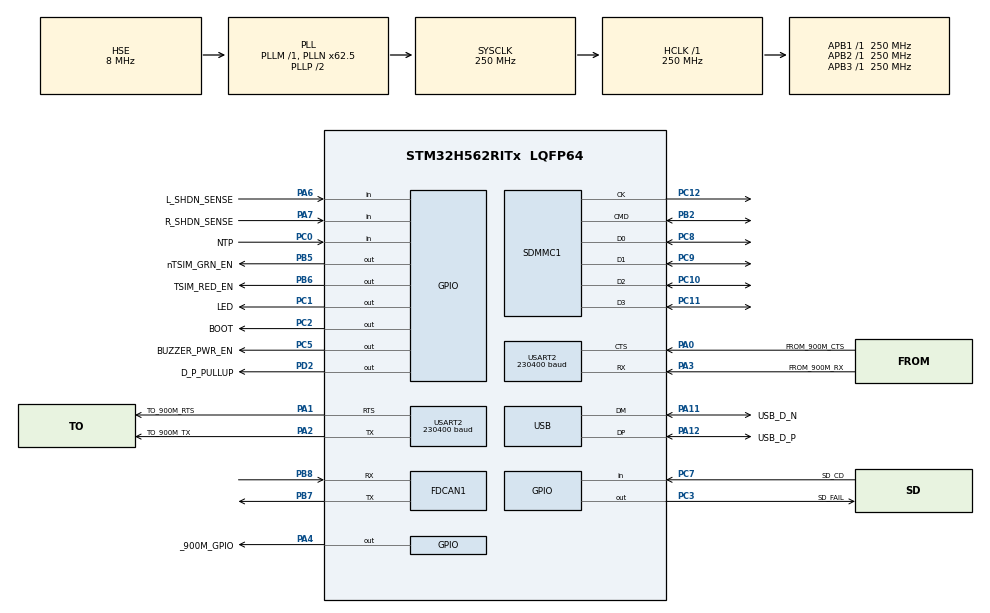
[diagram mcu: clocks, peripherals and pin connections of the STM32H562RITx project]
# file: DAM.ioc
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BOOTPATH.BootPathName=LEGACY
BOOTPATH.UserSelectedBootPath=LEGACY
CORTEX_M33_NS.userName=CORTEX_M33
FDCAN1.AutoRetransmission=ENABLE
FDCAN1.CalculateBaudRateNominal=1000000
FDCAN1.CalculateTimeBitNominal=1000
FDCAN1.CalculateTimeQuantumNominal=62.5
FDCAN1.DataPrescaler=3
FDCAN1.DataSyncJumpWidth=2
FDCAN1.DataTimeSeg1=5
FDCAN1.DataTimeSeg2=2
FDCAN1.ExtFiltersNbr=1
FDCAN1.FrameFormat=FDCAN_FRAME_FD_NO_BRS
FDCAN1.NominalPrescaler=6
FDCAN1.NominalSyncJumpWidth=2
FDCAN1.NominalTimeSeg1=13
FDCAN1.NominalTimeSeg2=2
FDCAN1.StdFiltersNbr=1
GPDMA1.DIRECTION_GPDMACH0=DMA_MEMORY_TO_PERIPH
GPDMA1.IPHANDLE_GPDMACH0-SIMPLEREQUEST_GPDMACH0=__NULL
GPDMA1.REQUEST_GPDMACH0=GPDMA1_REQUEST_USART2_TX
GPDMA1.SRCINC_GPDMACH0=DMA_SINC_INCREMENTED
IWDG.Reload=LSI_FREQUENCY / IWDG_PRESCALER / IWDG_RESET_FREQUENCY
Mcu.Family=STM32H5
Mcu.Name=STM32H562RITx
Mcu.Package=LQFP64
Mcu.UserConstants=IWDG_RESET_FREQUENCY,5;IWDG_PRESCALER,4;LSI_FREQUENCY,32000
NVIC.FDCAN1_IT0_IRQn=true\:6\:0\:true\:false\:true\:true\:true\:true
NVIC.FDCAN1_IT1_IRQn=true\:6\:0\:true\:false\:true\:true\:true\:true
NVIC.GPDMA1_Channel0_IRQn=true\:5\:0\:true\:false\:true\:true\:true\:true
NVIC.PriorityGroup=NVIC_PRIORITYGROUP_4
NVIC.SDMMC1_IRQn=true\:5\:0\:true\:false\:true\:true\:true\:true
NVIC.TIM2_IRQn=true\:0\:0\:true\:false\:true\:false\:true\:true
NVIC.TIM7_IRQn=true\:5\:0\:true\:false\:true\:true\:true\:true
NVIC.TimeBase=TIM2_IRQn
NVIC.TimeBaseIP=TIM2
NVIC.USART2_IRQn=true\:5\:0\:true\:false\:true\:true\:true\:true
NVIC.USB_DRD_FS_IRQn=true\:5\:0\:true\:false\:true\:true\:true\:true
PA0.GPIO_Label=FROM_900M_CTS
PA0.Mode=CTS_RTS
PA0.Signal=USART2_CTS
PA1.GPIO_Label=TO_900M_RTS
PA1.Mode=CTS_RTS
PA1.Signal=USART2_RTS
PA11.GPIO_Label=USB_D_N
PA11.Mode=Device
PA11.Signal=USB_DM
PA12.GPIO_Label=USB_D_P
PA12.Mode=Device
PA12.Signal=USB_DP
PA13(JTMS/SWDIO).GPIO_Label=SWDIO
PA13(JTMS/SWDIO).Mode=Trace_Asynchronous_SW
PA13(JTMS/SWDIO).Signal=DEBUG_JTMS-SWDIO
PA14(JTCK/SWCLK).GPIO_Label=SWCLK
PA14(JTCK/SWCLK).Mode=Trace_Asynchronous_SW
PA14(JTCK/SWCLK).Signal=DEBUG_JTCK-SWCLK
PA2.GPIO_Label=TO_900M_TX
PA2.Mode=Asynchronous
PA2.Signal=USART2_TX
PA3.GPIO_Label=FROM_900M_RX
PA3.Mode=Asynchronous
PA3.Signal=USART2_RX
PA4.GPIO_Label=_900M_GPIO
PA4.Signal=GPIO_Output
PA6.GPIO_Label=L_SHDN_SENSE
PA6.Signal=GPIO_Input
PA7.GPIO_Label=R_SHDN_SENSE
PA7.Signal=GPIO_Input
PB2.GPIO_Speed_Default_HIGH=GPIO_SPEED_FREQ_VERY_HIGH
PB2.Mode=SD_4_bits_Wide_bus
PB2.Signal=SDMMC1_CMD
PB3(JTDO/TRACESWO).GPIO_Label=SWO
PB3(JTDO/TRACESWO).Mode=Trace_Asynchronous_SW
PB3(JTDO/TRACESWO).Signal=DEBUG_JTDO-SWO
PB5.GPIO_Label=nTSIM_GRN_EN
PB5.Signal=GPIO_Output
PB6.GPIO_Label=TSIM_RED_EN
PB6.Signal=GPIO_Output
PB7.Mode=FDCAN_Activate
PB7.Signal=FDCAN1_TX
PB8.Mode=FDCAN_Activate
PB8.Signal=FDCAN1_RX
PC0.GPIO_Label=NTP
PC0.Signal=GPIO_Input
PC1.GPIO_Label=LED
PC1.Signal=GPIO_Output
PC10.GPIO_Speed_Default_HIGH=GPIO_SPEED_FREQ_VERY_HIGH
PC10.Mode=SD_4_bits_Wide_bus
PC10.Signal=SDMMC1_D2
PC11.GPIO_Speed_Default_HIGH=GPIO_SPEED_FREQ_VERY_HIGH
PC11.Mode=SD_4_bits_Wide_bus
PC11.Signal=SDMMC1_D3
PC12.GPIO_Speed_Default_HIGH=GPIO_SPEED_FREQ_VERY_HIGH
PC12.Mode=SD_4_bits_Wide_bus
PC12.Signal=SDMMC1_CK
PC14-OSC32_IN(OSC32_IN).Mode=LSE-External-Oscillator
PC14-OSC32_IN(OSC32_IN).Signal=RCC_OSC32_IN
PC15-OSC32_OUT(OSC32_OUT).Mode=LSE-External-Oscillator
PC15-OSC32_OUT(OSC32_OUT).Signal=RCC_OSC32_OUT
PC2.GPIO_Label=BOOT
PC2.Signal=GPIO_Output
PC3.GPIO_Label=SD_FAIL
PC3.Signal=GPIO_Output
PC5.GPIO_Label=BUZZER_PWR_EN
PC5.Signal=GPIO_Output
PC7.GPIO_Label=SD_CD
PC7.Signal=GPIO_Input
PC8.GPIO_Speed_Default_HIGH=GPIO_SPEED_FREQ_VERY_HIGH
PC8.Mode=SD_4_bits_Wide_bus
PC8.Signal=SDMMC1_D0
PC9.GPIO_Speed_Default_HIGH=GPIO_SPEED_FREQ_VERY_HIGH
PC9.Mode=SD_4_bits_Wide_bus
PC9.Signal=SDMMC1_D1
PD2.GPIO_Label=D_P_PULLUP
PD2.Signal=GPIO_Output
PH0-OSC_IN(PH0).Mode=HSE-External-Oscillator
PH0-OSC_IN(PH0).Signal=RCC_OSC_IN
PH1-OSC_OUT(PH1).Mode=HSE-External-Oscillator
PH1-OSC_OUT(PH1).Signal=RCC_OSC_OUT
ProjectManager.HeapSize=0x200
ProjectManager.StackSize=0x400
ProjectManager.TargetToolchain=EWARM V9.20
RCC.ADCFreq_Value=250000000
RCC.AHBFreq_Value=250000000
RCC.APB1Freq_Value=250000000
RCC.APB1TimFreq_Value=250000000
RCC.APB2Freq_Value=250000000
RCC.APB2TimFreq_Value=250000000
RCC.APB3Freq_Value=250000000
RCC.CSI_VALUE=4000000
RCC.CortexFreq_Value=250000000
RCC.EPOD_VALUE=8000000
RCC.FDCANClockSelection=RCC_FDCANCLKSOURCE_PLL2Q
RCC.HCLKFreq_Value=250000000
RCC.HSE_VALUE=8000000
RCC.HSI48_VALUE=48000000
RCC.HSI_VALUE=64000000
RCC.LSIRC_VALUE=32000
RCC.PLL2FRACN=0
RCC.PLL2N=36
RCC.PLL2Q=3
RCC.PLL2Source=RCC_PLL2_SOURCE_HSE
RCC.PLL3FRACN=0
RCC.PLLFRACN=4096
RCC.PLLN=62
RCC.PLLSourceVirtual=RCC_PLL1_SOURCE_HSE
RCC.RTCClockSelection=RCC_RTCCLKSOURCE_LSE
RCC.SYSCLKFreq_VALUE=250000000
RCC.SYSCLKSource=RCC_SYSCLKSOURCE_PLLCLK
RCC.USBFreq_Value=48000000
RCC.VCOOutputFreq_Value=500000000
RTC.Alarm-Alarm\ A=RTC_ALARM_A
RTC.AlarmMaskDateWeekDay-Alarm\ A=RTC_ALARMMASK_DATEWEEKDAY
RTC.AlarmMaskHours-Alarm\ A=RTC_ALARMMASK_HOURS
RTC.AlarmMaskMinutes-Alarm\ A=RTC_ALARMMASK_MINUTES
RTC.AsynchPrediv=31
RTC.SynchPrediv=1023
SDMMC1.ClockDiv=312
SDMMC1.HardwareFlowControl=SDMMC_HARDWARE_FLOW_CONTROL_ENABLE
TIM7.PeriodNoDither=960-1
TIM7.Prescaler=10-1
USART2.BaudRate=230400
USART2.FIFOMode=FIFOMODE_ENABLE
USART2.VirtualMode-Asynchronous=VM_ASYNC
USB.VirtualMode=Device_Only
VP_BOOTPATH_VS_BOOTPATH.Mode=BP_Activate
VP_CORTEX_M33_NS_VS_Hclk.Mode=Hclk_Mode
VP_CRC_VS_CRC.Mode=CRC_Activate
VP_GPDMA1_VS_GPDMACH0.Mode=SIMPLEREQUEST_GPDMACH0
VP_IWDG_VS_IWDG.Mode=IWDG_Activate
VP_MEMORYMAP_VS_MEMORYMAP.Mode=CurAppReg
VP_PWR_VS_LPOM.Mode=PowerOptimisation
VP_PWR_VS_SECSignals.Mode=Security/Privilege
VP_RTC_VS_RTC_Activate.Mode=RTC_Enabled
VP_RTC_VS_RTC_Alarm_A_Intern.Mode=Alarm A
VP_RTC_VS_RTC_Calendar.Mode=RTC_Calendar
VP_SYS_VS_tim2.Mode=TIM2
VP_TIM7_VS_ClockSourceINT.Mode=Enable_Timer
board=custom

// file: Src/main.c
/* USER CODE BEGIN Header */
/**
 ******************************************************************************
 * @file           : main.c
 * @brief          : Main program body
 ******************************************************************************
 * @attention
 *
 * Copyright (c) 2026 STMicroelectronics.
 * All rights reserved.
 *
 * This software is licensed under terms that can be found in the LICENSE file
 * in the root directory of this software component.
 * If no LICENSE file comes with this software, it is provided AS-IS.
 *
 ******************************************************************************
 */
/* USER CODE END Header */
#include "main.h"

/* USER CODE BEGIN Includes */
#include "tasks.h"
#include "hw_error.hpp"
/* USER CODE END Includes */

CRC_HandleTypeDef hcrc;

FDCAN_HandleTypeDef hfdcan1;

IWDG_HandleTypeDef hiwdg;

RTC_HandleTypeDef hrtc;

SD_HandleTypeDef hsd1;

TIM_HandleTypeDef htim7;

UART_HandleTypeDef huart2;
DMA_HandleTypeDef  handle_GPDMA1_Channel0;

PCD_HandleTypeDef hpcd_USB_DRD_FS;

void        SystemClock_Config(void);
static void MX_GPIO_Init(void);
static void MX_GPDMA1_Init(void);
static void MX_USART2_UART_Init(void);
static void MX_USB_PCD_Init(void);
static void MX_CRC_Init(void);
static void MX_FDCAN1_Init(void);
static void MX_IWDG_Init(void);
static void MX_RTC_Init(void);
static void MX_TIM7_Init(void);
static void MX_SDMMC1_SD_Init(void);

int main(void)
{
    /* USER CODE BEGIN 1 */
    tasks_preInit();
    /* USER CODE END 1 */

    /* MCU Configuration--------------------------------------------------------*/

    /* Reset of all peripherals, Initializes the Flash interface and the Systick. */
    HAL_Init();

    /* Configure the system clock */
    SystemClock_Config();

    /* Initialize all configured peripherals */
    MX_GPIO_Init();
    MX_GPDMA1_Init();
    MX_USART2_UART_Init();
    MX_USB_PCD_Init();
    MX_CRC_Init();
    MX_FDCAN1_Init();
    MX_IWDG_Init();
    MX_RTC_Init();
    MX_TIM7_Init();
    MX_SDMMC1_SD_Init();
    /* USER CODE BEGIN 2 */
    tasks_init();

    // RTC smooth calibration. Compensates for the LSE crystal running fast due to
    // under-spec load capacitance on the board (4.3 pF caps where ~8 pF are needed
    // for the 7 pF crystal). Initial measurement: ~78 ppm fast → CALM 82. After
    // calibration, residual drift was ~31 ppm fast → bumped to CALM 115.
    // Setting lives in backup domain so persists with VBAT; setting it each boot
    // is idempotent.
    HAL_RTCEx_SetSmoothCalib(&hrtc, RTC_SMOOTHCALIB_PERIOD_32SEC, RTC_SMOOTHCALIB_PLUSPULSES_RESET, 115);
    /* USER CODE END 2 */

    /* Infinite loop */
    while (1)
    {

    }
}

void SystemClock_Config(void)
{
    RCC_OscInitTypeDef RCC_OscInitStruct = { 0 };
    RCC_ClkInitTypeDef RCC_ClkInitStruct = { 0 };

    /** Configure the main internal regulator output voltage
     */
    __HAL_PWR_VOLTAGESCALING_CONFIG(PWR_REGULATOR_VOLTAGE_SCALE0);

    while (!__HAL_PWR_GET_FLAG(PWR_FLAG_VOSRDY))
    {
    }

    /** Configure LSE Drive Capability
     *  Warning : Only applied when the LSE is disabled.
     */
    HAL_PWR_EnableBkUpAccess();
    __HAL_RCC_LSEDRIVE_CONFIG(RCC_LSEDRIVE_LOW);

    /** Initializes the RCC Oscillators according to the specified parameters
     * in the RCC_OscInitTypeDef structure.
     */
    RCC_OscInitStruct.OscillatorType =
        RCC_OSCILLATORTYPE_HSI48 | RCC_OSCILLATORTYPE_LSI | RCC_OSCILLATORTYPE_HSE | RCC_OSCILLATORTYPE_LSE;
    RCC_OscInitStruct.HSEState      = RCC_HSE_ON;
    RCC_OscInitStruct.LSEState      = RCC_LSE_ON;
    RCC_OscInitStruct.LSIState      = RCC_LSI_ON;
    RCC_OscInitStruct.HSI48State    = RCC_HSI48_ON;
    RCC_OscInitStruct.PLL.PLLState  = RCC_PLL_ON;
    RCC_OscInitStruct.PLL.PLLSource = RCC_PLL1_SOURCE_HSE;
    RCC_OscInitStruct.PLL.PLLM      = 1;
    RCC_OscInitStruct.PLL.PLLN      = 62;
    RCC_OscInitStruct.PLL.PLLP      = 2;
    RCC_OscInitStruct.PLL.PLLQ      = 2;
    RCC_OscInitStruct.PLL.PLLR      = 2;
    RCC_OscInitStruct.PLL.PLLRGE    = RCC_PLL1_VCIRANGE_3;
    RCC_OscInitStruct.PLL.PLLVCOSEL = RCC_PLL1_VCORANGE_WIDE;
    RCC_OscInitStruct.PLL.PLLFRACN  = 4096;
    if (HAL_RCC_OscConfig(&RCC_OscInitStruct) != HAL_OK)
    {
        Error_Handler();
    }

    /** Initializes the CPU, AHB and APB buses clocks
     */
    RCC_ClkInitStruct.ClockType =
        RCC_CLOCKTYPE_HCLK | RCC_CLOCKTYPE_SYSCLK | RCC_CLOCKTYPE_PCLK1 | RCC_CLOCKTYPE_PCLK2 | RCC_CLOCKTYPE_PCLK3;
    RCC_ClkInitStruct.SYSCLKSource   = RCC_SYSCLKSOURCE_PLLCLK;
    RCC_ClkInitStruct.AHBCLKDivider  = RCC_SYSCLK_DIV1;
    RCC_ClkInitStruct.APB1CLKDivider = RCC_HCLK_DIV1;
    RCC_ClkInitStruct.APB2CLKDivider = RCC_HCLK_DIV1;
    RCC_ClkInitStruct.APB3CLKDivider = RCC_HCLK_DIV1;

    if (HAL_RCC_ClockConfig(&RCC_ClkInitStruct, FLASH_LATENCY_5) != HAL_OK)
    {
        Error_Handler();
    }

    /** Configure the programming delay
     */
    __HAL_FLASH_SET_PROGRAM_DELAY(FLASH_PROGRAMMING_DELAY_2);
}

static void MX_CRC_Init(void)
{

    hcrc.Instance                     = CRC;
    hcrc.Init.DefaultPolynomialUse    = DEFAULT_POLYNOMIAL_ENABLE;
    hcrc.Init.DefaultInitValueUse     = DEFAULT_INIT_VALUE_ENABLE;
    hcrc.Init.InputDataInversionMode  = CRC_INPUTDATA_INVERSION_NONE;
    hcrc.Init.OutputDataInversionMode = CRC_OUTPUTDATA_INVERSION_DISABLE;
    hcrc.InputDataFormat              = CRC_INPUTDATA_FORMAT_BYTES;
    if (HAL_CRC_Init(&hcrc) != HAL_OK)
    {
        Error_Handler();
    }
}

static void MX_FDCAN1_Init(void)
{

    hfdcan1.Instance                  = FDCAN1;
    hfdcan1.Init.ClockDivider         = FDCAN_CLOCK_DIV1;
    hfdcan1.Init.FrameFormat          = FDCAN_FRAME_FD_NO_BRS;
    hfdcan1.Init.Mode                 = FDCAN_MODE_NORMAL;
    hfdcan1.Init.AutoRetransmission   = ENABLE;
    hfdcan1.Init.TransmitPause        = DISABLE;
    hfdcan1.Init.ProtocolException    = DISABLE;
    hfdcan1.Init.NominalPrescaler     = 6;
    hfdcan1.Init.NominalSyncJumpWidth = 2;
    hfdcan1.Init.NominalTimeSeg1      = 13;
    hfdcan1.Init.NominalTimeSeg2      = 2;
    hfdcan1.Init.DataPrescaler        = 3;
    hfdcan1.Init.DataSyncJumpWidth    = 2;
    hfdcan1.Init.DataTimeSeg1         = 5;
    hfdcan1.Init.DataTimeSeg2         = 2;
    hfdcan1.Init.StdFiltersNbr        = 1;
    hfdcan1.Init.ExtFiltersNbr        = 1;
    hfdcan1.Init.TxFifoQueueMode      = FDCAN_TX_FIFO_OPERATION;
    if (HAL_FDCAN_Init(&hfdcan1) != HAL_OK)
    {
        Error_Handler();
    }
}

static void MX_GPDMA1_Init(void)
{

    /* Peripheral clock enable */
    __HAL_RCC_GPDMA1_CLK_ENABLE();

    /* GPDMA1 interrupt Init */
    HAL_NVIC_SetPriority(GPDMA1_Channel0_IRQn, 5, 0);
    HAL_NVIC_EnableIRQ(GPDMA1_Channel0_IRQn);

}

static void MX_IWDG_Init(void)
{

    /* USER CODE BEGIN IWDG_Init 1 */
#ifndef WATCHDOG_DISABLED
    /* USER CODE END IWDG_Init 1 */
    hiwdg.Instance       = IWDG;
    hiwdg.Init.Prescaler = IWDG_PRESCALER_4;
    hiwdg.Init.Window    = 4095;
    hiwdg.Init.Reload    = LSI_FREQUENCY / IWDG_PRESCALER / IWDG_RESET_FREQUENCY;
    hiwdg.Init.EWI       = 0;
    if (HAL_IWDG_Init(&hiwdg) != HAL_OK)
    {
        Error_Handler();
    }
    /* USER CODE BEGIN IWDG_Init 2 */
#endif
    /* USER CODE END IWDG_Init 2 */
}

static void MX_RTC_Init(void)
{

    RTC_PrivilegeStateTypeDef privilegeState = { 0 };
    RTC_TimeTypeDef           sTime          = { 0 };
    RTC_DateTypeDef           sDate          = { 0 };
    RTC_AlarmTypeDef          sAlarm         = { 0 };

    /** Initialize RTC Only
     */
    hrtc.Instance            = RTC;
    hrtc.Init.HourFormat     = RTC_HOURFORMAT_24;
    hrtc.Init.AsynchPrediv   = 31;
    hrtc.Init.SynchPrediv    = 1023;
    hrtc.Init.OutPut         = RTC_OUTPUT_DISABLE;
    hrtc.Init.OutPutRemap    = RTC_OUTPUT_REMAP_NONE;
    hrtc.Init.OutPutPolarity = RTC_OUTPUT_POLARITY_HIGH;
    hrtc.Init.OutPutType     = RTC_OUTPUT_TYPE_OPENDRAIN;
    hrtc.Init.OutPutPullUp   = RTC_OUTPUT_PULLUP_NONE;
    hrtc.Init.BinMode        = RTC_BINARY_NONE;
    if (HAL_RTC_Init(&hrtc) != HAL_OK)
    {
        Error_Handler();
    }
    privilegeState.rtcPrivilegeFull         = RTC_PRIVILEGE_FULL_NO;
    privilegeState.backupRegisterPrivZone   = RTC_PRIVILEGE_BKUP_ZONE_NONE;
    privilegeState.backupRegisterStartZone2 = RTC_BKP_DR0;
    privilegeState.backupRegisterStartZone3 = RTC_BKP_DR0;
    if (HAL_RTCEx_PrivilegeModeSet(&hrtc, &privilegeState) != HAL_OK)
    {
        Error_Handler();
    }

    /* USER CODE BEGIN Check_RTC_BKUP */
#define RTC_BKP_MAGIC 0xCAFEBABEu
    if (HAL_RTCEx_BKUPRead(&hrtc, RTC_BKP_DR0) != RTC_BKP_MAGIC)
    {
        /* USER CODE END Check_RTC_BKUP */

        /** Initialize RTC and set the Time and Date
         */
        sTime.Hours          = 0x0;
        sTime.Minutes        = 0x0;
        sTime.Seconds        = 0x0;
        sTime.DayLightSaving = RTC_DAYLIGHTSAVING_NONE;
        sTime.StoreOperation = RTC_STOREOPERATION_RESET;
        if (HAL_RTC_SetTime(&hrtc, &sTime, RTC_FORMAT_BCD) != HAL_OK)
        {
            Error_Handler();
        }
        sDate.WeekDay = RTC_WEEKDAY_MONDAY;
        sDate.Month   = RTC_MONTH_JANUARY;
        sDate.Date    = 0x1;
        sDate.Year    = 0x0;

        if (HAL_RTC_SetDate(&hrtc, &sDate, RTC_FORMAT_BCD) != HAL_OK)
        {
            Error_Handler();
        }

        /** Enable the Alarm A
         */
        sAlarm.AlarmTime.Hours      = 0x0;
        sAlarm.AlarmTime.Minutes    = 0x0;
        sAlarm.AlarmTime.Seconds    = 0x0;
        sAlarm.AlarmTime.SubSeconds = 0x0;
        sAlarm.AlarmMask            = RTC_ALARMMASK_DATEWEEKDAY | RTC_ALARMMASK_HOURS | RTC_ALARMMASK_MINUTES;
        sAlarm.AlarmSubSecondMask   = RTC_ALARMSUBSECONDMASK_ALL;
        sAlarm.AlarmDateWeekDaySel  = RTC_ALARMDATEWEEKDAYSEL_DATE;
        sAlarm.AlarmDateWeekDay     = 0x1;
        sAlarm.Alarm                = RTC_ALARM_A;
        sAlarm.FlagAutoClr          = ALARM_FLAG_AUTOCLR_ENABLE;
        if (HAL_RTC_SetAlarm(&hrtc, &sAlarm, RTC_FORMAT_BCD) != HAL_OK)
        {
            Error_Handler();
        }
        /* USER CODE BEGIN RTC_Init 2 */
        HAL_RTCEx_BKUPWrite(&hrtc, RTC_BKP_DR0, RTC_BKP_MAGIC);
    }
    /* USER CODE END RTC_Init 2 */
}

static void MX_SDMMC1_SD_Init(void)
{
    /* USER CODE BEGIN SDMMC1_Init 0 */
    // Card detect is active-low: inserted = grounded = GPIO_PIN_RESET.
    if (HAL_GPIO_ReadPin(SD_CD_GPIO_Port, SD_CD_Pin) != GPIO_PIN_RESET)
    {
        return;
    }
    hsd1.Instance                 = SDMMC1;
    hsd1.Init.ClockEdge           = SDMMC_CLOCK_EDGE_RISING;
    hsd1.Init.ClockPowerSave      = SDMMC_CLOCK_POWER_SAVE_DISABLE;
    hsd1.Init.BusWide             = SDMMC_BUS_WIDE_1B;
    hsd1.Init.HardwareFlowControl = SDMMC_HARDWARE_FLOW_CONTROL_DISABLE;
    hsd1.Init.ClockDiv            = 312;
    if (HAL_SD_Init(&hsd1) != HAL_OK)
    {
        Error_Handler();
    }
    /* USER CODE END SDMMC1_Init 0 */

    /* USER CODE BEGIN SDMMC1_Init 1 */
    // TODO copy from here when stm32 regenerates. We are doing this because we must init in 1b mode
#if false
  /* USER CODE END SDMMC1_Init 1 */
  hsd1.Instance = SDMMC1;
  hsd1.Init.ClockEdge = SDMMC_CLOCK_EDGE_RISING;
  hsd1.Init.ClockPowerSave = SDMMC_CLOCK_POWER_SAVE_DISABLE;
  hsd1.Init.BusWide = SDMMC_BUS_WIDE_4B;
  hsd1.Init.HardwareFlowControl = SDMMC_HARDWARE_FLOW_CONTROL_ENABLE;
  hsd1.Init.ClockDiv = 312;
  if (HAL_SD_Init(&hsd1) != HAL_OK)
  {
    Error_Handler();
  }
  /* USER CODE BEGIN SDMMC1_Init 2 */
#endif
    /* USER CODE END SDMMC1_Init 2 */
}

static void MX_TIM7_Init(void)
{

    TIM_MasterConfigTypeDef sMasterConfig = { 0 };

    htim7.Instance               = TIM7;
    htim7.Init.Prescaler         = 10 - 1;
    htim7.Init.CounterMode       = TIM_COUNTERMODE_UP;
    htim7.Init.Period            = 959;
    htim7.Init.AutoReloadPreload = TIM_AUTORELOAD_PRELOAD_DISABLE;
    if (HAL_TIM_Base_Init(&htim7) != HAL_OK)
    {
        Error_Handler();
    }
    sMasterConfig.MasterOutputTrigger = TIM_TRGO_RESET;
    sMasterConfig.MasterSlaveMode     = TIM_MASTERSLAVEMODE_DISABLE;
    if (HAL_TIMEx_MasterConfigSynchronization(&htim7, &sMasterConfig) != HAL_OK)
    {
        Error_Handler();
    }
}

static void MX_USART2_UART_Init(void)
{

    huart2.Instance                    = USART2;
    huart2.Init.BaudRate               = 230400;
    huart2.Init.WordLength             = UART_WORDLENGTH_8B;
    huart2.Init.StopBits               = UART_STOPBITS_1;
    huart2.Init.Parity                 = UART_PARITY_NONE;
    huart2.Init.Mode                   = UART_MODE_TX_RX;
    huart2.Init.HwFlowCtl              = UART_HWCONTROL_RTS_CTS;
    huart2.Init.OverSampling           = UART_OVERSAMPLING_16;
    huart2.Init.OneBitSampling         = UART_ONE_BIT_SAMPLE_DISABLE;
    huart2.Init.ClockPrescaler         = UART_PRESCALER_DIV1;
    huart2.AdvancedInit.AdvFeatureInit = UART_ADVFEATURE_NO_INIT;
    if (HAL_UART_Init(&huart2) != HAL_OK)
    {
        Error_Handler();
    }
    if (HAL_UARTEx_SetTxFifoThreshold(&huart2, UART_TXFIFO_THRESHOLD_1_8) != HAL_OK)
    {
        Error_Handler();
    }
    if (HAL_UARTEx_SetRxFifoThreshold(&huart2, UART_RXFIFO_THRESHOLD_1_8) != HAL_OK)
    {
        Error_Handler();
    }
    if (HAL_UARTEx_EnableFifoMode(&huart2) != HAL_OK)
    {
        Error_Handler();
    }
}

static void MX_USB_PCD_Init(void)
{

    hpcd_USB_DRD_FS.Instance                      = USB_DRD_FS;
    hpcd_USB_DRD_FS.Init.dev_endpoints            = 8;
    hpcd_USB_DRD_FS.Init.speed                    = USBD_FS_SPEED;
    hpcd_USB_DRD_FS.Init.phy_itface               = PCD_PHY_EMBEDDED;
    hpcd_USB_DRD_FS.Init.Sof_enable               = DISABLE;
    hpcd_USB_DRD_FS.Init.low_power_enable         = DISABLE;
    hpcd_USB_DRD_FS.Init.lpm_enable               = DISABLE;
    hpcd_USB_DRD_FS.Init.battery_charging_enable  = DISABLE;
    hpcd_USB_DRD_FS.Init.vbus_sensing_enable      = DISABLE;
    hpcd_USB_DRD_FS.Init.bulk_doublebuffer_enable = DISABLE;
    hpcd_USB_DRD_FS.Init.iso_singlebuffer_enable  = DISABLE;
    if (HAL_PCD_Init(&hpcd_USB_DRD_FS) != HAL_OK)
    {
        Error_Handler();
    }
}

static void MX_GPIO_Init(void)
{
    GPIO_InitTypeDef GPIO_InitStruct = { 0 };

    /* GPIO Ports Clock Enable */
    __HAL_RCC_GPIOC_CLK_ENABLE();
    __HAL_RCC_GPIOH_CLK_ENABLE();
    __HAL_RCC_GPIOA_CLK_ENABLE();
    __HAL_RCC_GPIOB_CLK_ENABLE();
    __HAL_RCC_GPIOD_CLK_ENABLE();

    /*Configure GPIO pin Output Level */
    HAL_GPIO_WritePin(GPIOC, LED_Pin | BOOT_Pin | SD_FAIL_Pin | BUZZER_PWR_EN_Pin, GPIO_PIN_RESET);

    /*Configure GPIO pin Output Level */
    HAL_GPIO_WritePin(_900M_GPIO_GPIO_Port, _900M_GPIO_Pin, GPIO_PIN_RESET);

    /*Configure GPIO pin Output Level */
    HAL_GPIO_WritePin(D_P_PULLUP_GPIO_Port, D_P_PULLUP_Pin, GPIO_PIN_RESET);

    /*Configure GPIO pin Output Level */
    HAL_GPIO_WritePin(GPIOB, nTSIM_GRN_EN_Pin | TSIM_RED_EN_Pin, GPIO_PIN_RESET);

    /*Configure GPIO pins : NTP_Pin SD_CD_Pin */
    GPIO_InitStruct.Pin  = NTP_Pin | SD_CD_Pin;
    GPIO_InitStruct.Mode = GPIO_MODE_INPUT;
    GPIO_InitStruct.Pull = GPIO_NOPULL;
    HAL_GPIO_Init(GPIOC, &GPIO_InitStruct);

    /*Configure GPIO pins : LED_Pin BOOT_Pin SD_FAIL_Pin BUZZER_PWR_EN_Pin */
    GPIO_InitStruct.Pin   = LED_Pin | BOOT_Pin | SD_FAIL_Pin | BUZZER_PWR_EN_Pin;
    GPIO_InitStruct.Mode  = GPIO_MODE_OUTPUT_PP;
    GPIO_InitStruct.Pull  = GPIO_NOPULL;
    GPIO_InitStruct.Speed = GPIO_SPEED_FREQ_LOW;
    HAL_GPIO_Init(GPIOC, &GPIO_InitStruct);

    /*Configure GPIO pin : _900M_GPIO_Pin */
    GPIO_InitStruct.Pin   = _900M_GPIO_Pin;
    GPIO_InitStruct.Mode  = GPIO_MODE_OUTPUT_PP;
    GPIO_InitStruct.Pull  = GPIO_NOPULL;
    GPIO_InitStruct.Speed = GPIO_SPEED_FREQ_LOW;
    HAL_GPIO_Init(_900M_GPIO_GPIO_Port, &GPIO_InitStruct);

    /*Configure GPIO pins : L_SHDN_SENSE_Pin R_SHDN_SENSE_Pin */
    GPIO_InitStruct.Pin  = L_SHDN_SENSE_Pin | R_SHDN_SENSE_Pin;
    GPIO_InitStruct.Mode = GPIO_MODE_INPUT;
    GPIO_InitStruct.Pull = GPIO_NOPULL;
    HAL_GPIO_Init(GPIOA, &GPIO_InitStruct);

    /*Configure GPIO pin : D_P_PULLUP_Pin */
    GPIO_InitStruct.Pin   = D_P_PULLUP_Pin;
    GPIO_InitStruct.Mode  = GPIO_MODE_OUTPUT_PP;
    GPIO_InitStruct.Pull  = GPIO_NOPULL;
    GPIO_InitStruct.Speed = GPIO_SPEED_FREQ_LOW;
    HAL_GPIO_Init(D_P_PULLUP_GPIO_Port, &GPIO_InitStruct);

    /*Configure GPIO pins : nTSIM_GRN_EN_Pin TSIM_RED_EN_Pin */
    GPIO_InitStruct.Pin   = nTSIM_GRN_EN_Pin | TSIM_RED_EN_Pin;
    GPIO_InitStruct.Mode  = GPIO_MODE_OUTPUT_PP;
    GPIO_InitStruct.Pull  = GPIO_NOPULL;
    GPIO_InitStruct.Speed = GPIO_SPEED_FREQ_LOW;
    HAL_GPIO_Init(GPIOB, &GPIO_InitStruct);

}

void HAL_TIM_PeriodElapsedCallback(TIM_HandleTypeDef *htim)
{
    if (htim->Instance == TIM2)
    {
        HAL_IncTick();
    }
}

void Error_Handler(void)
{
    __disable_irq();
    while (1)
    {
    }
}
